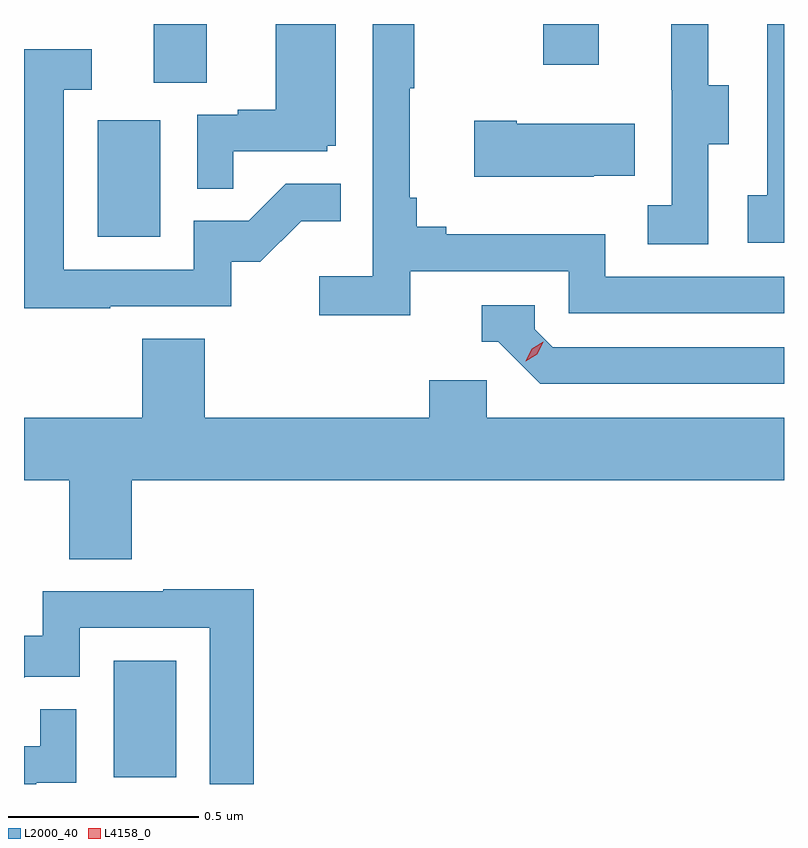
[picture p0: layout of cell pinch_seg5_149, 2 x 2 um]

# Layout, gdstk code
import gdstk
lib = gdstk.Library(unit=1e-6, precision=1e-09)
def R(c, l, rs):  # rectangles x0, y0, x1, y1
    for r in rs: c.add(gdstk.rectangle(r[:2], r[2:], *l))
def P(c, l, *ps):  # polygons
    for p in ps: c.add(gdstk.Polygon(p, *l))
L2000_40 = (2000, 40)
L4158_0 = (4158, 0)

pinch_seg5_149 = lib.new_cell('pinch_seg5_149')
R(pinch_seg5_149, L2000_40, [(1078.892,873.294,1079.056,873.601), (1078.85,874.716,1079.014,875.023), (1078.997,875.122,1079.137,875.276), (1080.022,875.169,1080.169,875.276)])
P(pinch_seg5_149, L2000_40, [(1079.207,874.941),(1079.454,874.941),(1079.454,874.956),(1079.476,874.956),(1079.476,875.276),(1079.318,875.276),(1079.318,875.05),(1079.219,875.05),(1079.219,875.037),(1079.112,875.037),(1079.112,874.843),(1079.207,874.843)],
  [(1079.672,874.626),(1080.09,874.626),(1080.09,874.515),(1080.656,874.515),(1080.656,874.611),(1080.186,874.611),(1080.186,874.723),(1079.767,874.723),(1079.767,874.742),(1079.69,874.742),(1079.69,874.819),(1079.671,874.819),(1079.671,875.107),(1079.683,875.107),(1079.683,875.276),(1079.574,875.276),(1079.574,874.612),(1079.433,874.612),(1079.433,874.51),(1079.672,874.51)],
  [(1080.456,874.96),(1080.511,874.96),(1080.511,875.115),(1080.457,875.115),(1080.457,875.276),(1080.359,875.276),(1080.359,875.103),(1080.36,875.103),(1080.36,874.799),(1080.297,874.799),(1080.297,874.696),(1080.456,874.696)],
  [(1080.656,875.276),(1080.612,875.276),(1080.612,874.826),(1080.561,874.826),(1080.561,874.701),(1080.656,874.701)],
  [(1078.883,874.533),(1079.202,874.533),(1079.202,874.65),(1079.278,874.65),(1079.385,874.757),(1079.489,874.757),(1079.489,874.856),(1079.345,874.856),(1079.247,874.758),(1079.103,874.758),(1079.103,874.629),(1078.761,874.629),(1078.761,875.103),(1078.834,875.103),(1078.834,875.209),(1078.656,875.209),(1078.656,874.528),(1078.883,874.528)],
  [(1080.155,874.877),(1080.263,874.877),(1080.263,875.014),(1079.953,875.014),(1079.953,875.022),(1079.841,875.022),(1079.841,874.874),(1080.155,874.874)],
  [(1080.656,874.425),(1080.048,874.425),(1080,874.473),(1080,874.536),(1079.861,874.536),(1079.861,874.44),(1079.904,874.44),(1080.015,874.329),(1080.656,874.329)],
  [(1078.94,874.076),(1080.656,874.076),(1080.656,874.24),(1079.874,874.24),(1079.874,874.338),(1079.723,874.338),(1079.723,874.24),(1079.132,874.24),(1079.132,874.448),(1078.967,874.448),(1078.967,874.24),(1078.656,874.24),(1078.656,874.076),(1078.775,874.076),(1078.775,873.868),(1078.94,873.868)],
  [(1079.261,873.788),(1079.023,873.788),(1079.023,873.783),(1078.705,873.783),(1078.705,873.666),(1078.656,873.666),(1078.656,873.555),(1078.659,873.558),(1078.803,873.558),(1078.803,873.687),(1079.145,873.687),(1079.145,873.276),(1079.261,873.276)],
  [(1078.688,873.279),(1078.794,873.279),(1078.794,873.473),(1078.699,873.473),(1078.699,873.375),(1078.656,873.375),(1078.656,873.276),(1078.688,873.276)])
P(pinch_seg5_149, L4158_0, [(1079.976,874.388),(1079.976,874.388),(1079.992,874.421),(1080.022,874.44),(1080.022,874.44),(1080.022,874.44),(1080.007,874.407),(1079.976,874.388)])

lib.write_gds('pinch_seg5_149.gds')
